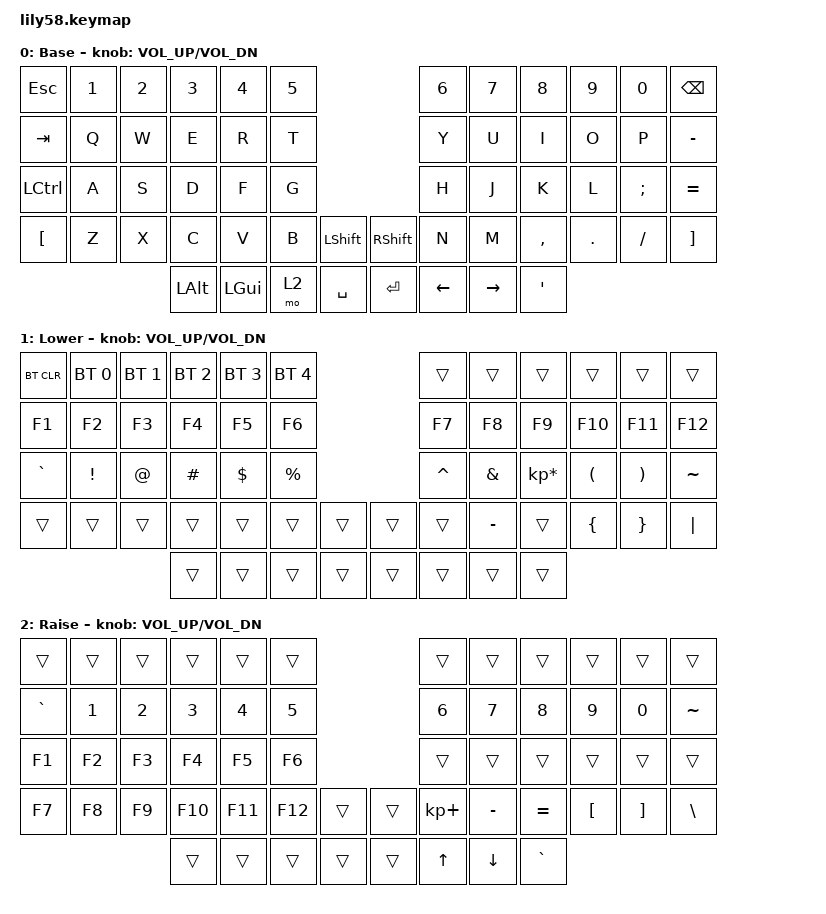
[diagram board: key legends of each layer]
/*
 * Copyright (c) 2020 The ZMK Contributors
 *
 * SPDX-License-Identifier: MIT
 */

#include <behaviors.dtsi>
#include <dt-bindings/zmk/keys.h>
#include <dt-bindings/zmk/bt.h>
#include <dt-bindings/zmk/ext_power.h>

/ {
    keymap {
        compatible = "zmk,keymap";

        default_layer {
// ------------------------------------------------------------------------------------------------------------
// |  ESC  |  1  |  2  |  3   |  4   |  5   |                    |  6   |  7    |  8    |  9   |   0   | BSPC  |
// |  TAB  |  Q  |  W  |  E   |  R   |  T   |                    |  Y   |  U    |  I    |  O   |   P   |   -   |
// |  CTRL |  A  |  S  |  D   |  F   |  G   |                    |  H   |  J    |  K    |  L   |   ;   |   =   |
// |   [   |  Z  |  X  |  C   |  V   |  B   | LSHIFT |  | RSHIFT |  N   |  M    |  ,    |  .   |   /   |   ]   |
//                     | ALT  | GUI  | RAISE|  SPACE |  | ENTER  | LEFT | RIGHT  |  '    |
            display-name = "Base";
            bindings = <
&kp ESC   &kp N1 &kp N2 &kp N3   &kp N4   &kp N5                      &kp N6   &kp N7    &kp N8    &kp N9  &kp N0   &kp BSPC
&kp TAB   &kp Q  &kp W  &kp E    &kp R    &kp T                       &kp Y    &kp U     &kp I     &kp O   &kp P    &kp MINUS
&kp LCTRL &kp A  &kp S  &kp D    &kp F    &kp G                       &kp H    &kp J     &kp K     &kp L   &kp SEMI &kp EQUAL
&kp LBKT  &kp Z  &kp X  &kp C    &kp V    &kp B  &kp LSHFT  &kp RSHFT &kp N    &kp M     &kp COMMA &kp DOT &kp FSLH &kp RBKT
                        &kp LALT &kp LGUI &mo 2  &kp SPACE  &kp RET   &kp LEFT &kp RIGHT &kp SQT
            >;

            sensor-bindings = <&inc_dec_kp C_VOL_UP C_VOL_DN>;
        };

        lower_layer {
// ------------------------------------------------------------------------------------------------------------
// | BTCLR | BT1 | BT2 |  BT3 |  BT4 |  BT5 |                   |      |       |       |      |       |       |
// |  F1   |  F2 |  F3 |  F4  |  F5  |  F6  |                   |  F7  |  F8   |  F9   |  F10 |  F11  |  F12  |
// |   `   |  !  |  @  |  #   |  $   |  %   |                   |  ^   |  &    |  *    |  (   |   )   |   ~   |
// |       |     |     |      |      |      |        |  |       |      |  _    |       |  {   |   }   |  "|"  |
//                     |      |      |      |        |  |       |      |       |       |
            display-name = "Lower";
            bindings = <
&bt BT_CLR &bt BT_SEL 0     &bt BT_SEL 1      &bt BT_SEL 2      &bt BT_SEL 3 &bt BT_SEL 4                 &trans    &trans    &trans          &trans    &trans    &trans
&kp F1     &kp F2           &kp F3            &kp F4            &kp F5       &kp F6                       &kp F7    &kp F8    &kp F9          &kp F10   &kp F11   &kp F12
&kp GRAVE  &kp EXCL         &kp AT            &kp HASH          &kp DOLLAR   &kp PRCNT                    &kp CARET &kp AMPS  &kp KP_MULTIPLY &kp LPAR  &kp RPAR  &kp TILDE
&trans     &trans           &trans            &trans            &trans       &trans    &trans   &trans    &trans    &kp MINUS &trans          &kp LBRC  &kp RBRC  &kp PIPE
                                              &trans            &trans       &trans    &trans   &trans    &trans    &trans    &trans
            >;

            sensor-bindings = <&inc_dec_kp C_VOL_UP C_VOL_DN>;
        };

        raise_layer {
// ------------------------------------------------------------------------------------------------------------
// |       |     |     |      |      |      |                   |      |       |       |      |       |       |
// |   `   |  1  |  2  |  3   |  4   |  5   |                   |  6   |   7   |   8   |  9   |   0   |   ~   |
// |   F1  |  F2 |  F3 |  F4  |  F5  |  F6  |                   |      |       |       |      |       |       |
// |   F7  |  F8 |  F9 |  F10 |  F11 |  F12 |        |  |       |  +   |   -   |   =   |  [   |   ]   |   \   |
//                     |      |      |      |        |  |       |  UP  | DOWN  |   `   |
            display-name = "Raise";
            bindings = <
&trans    &trans &trans &trans  &trans  &trans                       &trans      &trans    &trans    &trans   &trans    &trans
&kp GRAVE &kp N1 &kp N2 &kp N3  &kp N4  &kp N5                       &kp N6      &kp N7    &kp N8    &kp N9   &kp N0    &kp TILDE
&kp F1    &kp F2 &kp F3 &kp F4  &kp F5  &kp F6                       &trans      &trans    &trans    &trans   &trans    &trans
&kp F7    &kp F8 &kp F9 &kp F10 &kp F11 &kp F12   &trans   &trans    &kp KP_PLUS &kp MINUS &kp EQUAL &kp LBKT &kp RBKT  &kp BSLH
                        &trans  &trans  &trans    &trans   &trans    &kp UP      &kp DOWN  &kp GRAVE
            >;

            sensor-bindings = <&inc_dec_kp C_VOL_UP C_VOL_DN>;
        };

        extra_1 {
            status = "reserved";
        };

        extra_2 {
            status = "reserved";
        };

        extra_3 {
            status = "reserved";
        };
    };
};
